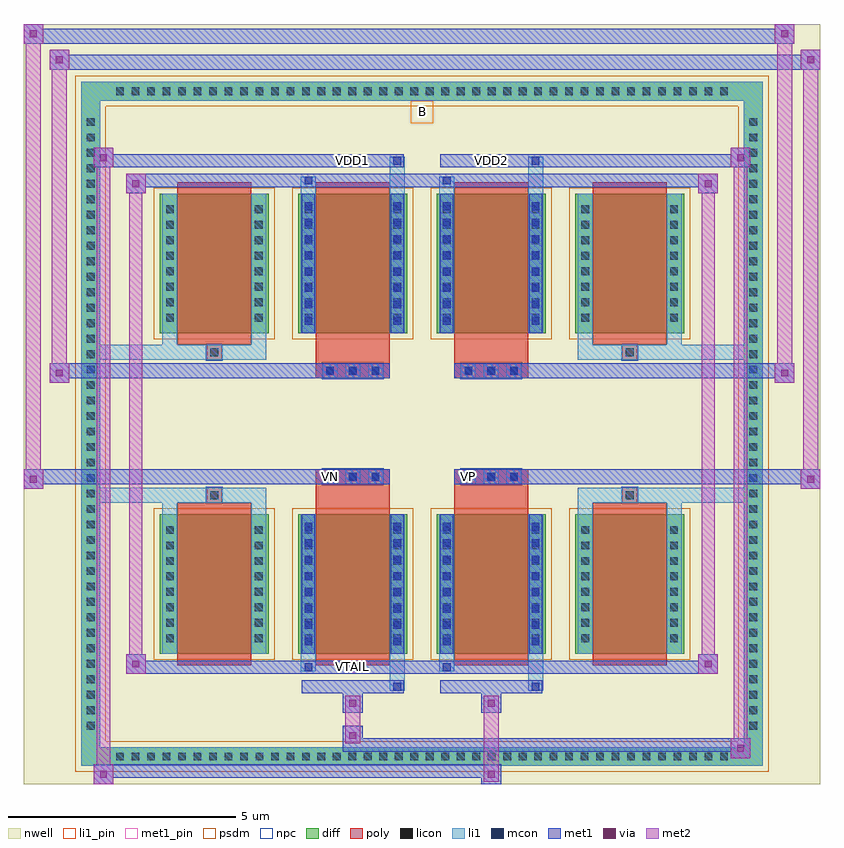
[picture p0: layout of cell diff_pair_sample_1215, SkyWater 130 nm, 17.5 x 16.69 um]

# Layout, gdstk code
import gdstk
lib = gdstk.Library(unit=1e-6, precision=5e-09)
def R(c, l, rs):  # rectangles x0, y0, x1, y1
    for r in rs: c.add(gdstk.rectangle(r[:2], r[2:], *l))
def A(c, l, x, y, w, h, nx, ny, dx, dy):  # array of equal rectangles
    R(c, l, [(x+i*dx, y+j*dy, x+i*dx+w, y+j*dy+h) for i in range(nx) for j in range(ny)])
def P(c, l, *ps):  # polygons
    for p in ps: c.add(gdstk.Polygon(p, *l))
nwell = (64, 20)
diff = (65, 20)
poly = (66, 20)
licon = (66, 44)
li1_pin = (67, 16)
li1 = (67, 20)
mcon = (67, 44)
met1_pin = (68, 16)
met1 = (68, 20)
via = (68, 44)
met2 = (69, 20)
psdm = (94, 20)
npc = (95, 20)

diff_pair_sample_1215 = lib.new_cell('diff_pair_sample_1215')
R(diff_pair_sample_1215, nwell, [(-8.75,-7.91,8.75,8.78), (-6.07,-6.1,-0.01,-0.8), (0.01,-6.1,6.07,-0.8), (-6.07,0.8,-0.01,6.1), (0.01,0.8,6.07,6.1)])
A(diff_pair_sample_1215, diff, -6.835, -7.51, 0.41, 0.41, 40, 2, 0.34, 14.61)
A(diff_pair_sample_1215, diff, -7.48, -6.835, 0.41, 0.41, 1, 40, 0, 0.34)
A(diff_pair_sample_1215, diff, 7.07, -6.835, 0.41, 0.41, 1, 40, 0, 0.34)
A(diff_pair_sample_1215, diff, -5.76, -5.055, 2.4, 3.07, 4, 2, 3.04, 7.04)
R(diff_pair_sample_1215, diff, [(-6.835,-7.51,6.835,-7.1), (-7.48,-6.835,-7.07,6.835), (7.07,-6.835,7.48,6.835), (-6.835,7.1,6.835,7.51)])
P(diff_pair_sample_1215, diff, [(7.48,7.51),(-7.48,7.51),(-7.48,-7.1),(-7.07,-7.1),(-7.07,7.1),(7.07,7.1),(7.07,-7.1),(-7.07,-7.1),(-7.48,-7.1),(-7.48,-7.51),(7.48,-7.51)])
A(diff_pair_sample_1215, poly, -5.37, -5.305, 1.62, 3.57, 4, 2, 3.04, 7.04)
A(diff_pair_sample_1215, poly, -2.185, -1.33, 0.33, 0.33, 3, 2, 0.5, 2.33)
A(diff_pair_sample_1215, poly, 0.855, -1.33, 0.33, 0.33, 3, 2, 0.5, 2.33)
R(diff_pair_sample_1215, poly, [(-4.725,-1.735,-4.395,-1.405), (-4.725,-1.735,-4.395,-1.405), (-2.33,-1.735,-0.71,-1.33), (0.71,-1.735,2.33,-1.33), (4.395,-1.735,4.725,-1.405), (4.395,-1.735,4.725,-1.405), (-2.33,-1.33,-0.71,-1), (0.71,-1.33,2.33,-1), (-2.33,1,-0.71,1.33), (0.71,1,2.33,1.33), (-2.33,1.33,-0.71,1.735), (0.71,1.33,2.33,1.735), (-4.725,1.405,-4.395,1.735), (-4.725,1.405,-4.395,1.735), (4.395,1.405,4.725,1.735), (4.395,1.405,4.725,1.735)])
A(diff_pair_sample_1215, licon, -6.715, -7.39, 0.17, 0.17, 40, 2, 0.34, 14.61)
A(diff_pair_sample_1215, licon, -7.36, -6.715, 0.17, 0.17, 1, 40, 0, 0.34)
A(diff_pair_sample_1215, licon, 7.19, -6.715, 0.17, 0.17, 1, 40, 0, 0.34)
A(diff_pair_sample_1215, licon, -5.62, -4.795, 0.17, 0.17, 1, 8, 0, 0.34)
A(diff_pair_sample_1215, licon, -3.67, -4.795, 0.17, 0.17, 1, 8, 0, 0.34)
A(diff_pair_sample_1215, licon, -2.58, -4.795, 0.17, 0.17, 1, 8, 0, 0.34)
A(diff_pair_sample_1215, licon, -0.63, -4.795, 0.17, 0.17, 1, 8, 0, 0.34)
A(diff_pair_sample_1215, licon, 0.46, -4.795, 0.17, 0.17, 1, 8, 0, 0.34)
A(diff_pair_sample_1215, licon, 2.41, -4.795, 0.17, 0.17, 1, 8, 0, 0.34)
A(diff_pair_sample_1215, licon, 3.5, -4.795, 0.17, 0.17, 1, 8, 0, 0.34)
A(diff_pair_sample_1215, licon, 5.45, -4.795, 0.17, 0.17, 1, 8, 0, 0.34)
A(diff_pair_sample_1215, licon, -2.105, -1.25, 0.17, 0.17, 3, 2, 0.5, 2.33)
A(diff_pair_sample_1215, licon, 0.935, -1.25, 0.17, 0.17, 3, 2, 0.5, 2.33)
A(diff_pair_sample_1215, licon, -5.62, 2.245, 0.17, 0.17, 1, 8, 0, 0.34)
A(diff_pair_sample_1215, licon, -3.67, 2.245, 0.17, 0.17, 1, 8, 0, 0.34)
A(diff_pair_sample_1215, licon, -2.58, 2.245, 0.17, 0.17, 1, 8, 0, 0.34)
A(diff_pair_sample_1215, licon, -0.63, 2.245, 0.17, 0.17, 1, 8, 0, 0.34)
A(diff_pair_sample_1215, licon, 0.46, 2.245, 0.17, 0.17, 1, 8, 0, 0.34)
A(diff_pair_sample_1215, licon, 2.41, 2.245, 0.17, 0.17, 1, 8, 0, 0.34)
A(diff_pair_sample_1215, licon, 3.5, 2.245, 0.17, 0.17, 1, 8, 0, 0.34)
A(diff_pair_sample_1215, licon, 5.45, 2.245, 0.17, 0.17, 1, 8, 0, 0.34)
R(diff_pair_sample_1215, licon, [(-4.645,-1.655,-4.475,-1.485), (4.475,-1.655,4.645,-1.485), (-4.645,1.485,-4.475,1.655), (4.475,1.485,4.645,1.655)])
R(diff_pair_sample_1215, li1_pin, [(-0.25,6.6,0.25,7.1)])
A(diff_pair_sample_1215, li1, -6.795, -7.47, 0.33, 0.33, 40, 2, 0.34, 14.61)
A(diff_pair_sample_1215, li1, -7.44, -6.795, 0.33, 0.33, 1, 40, 0, 0.34)
A(diff_pair_sample_1215, li1, 7.11, -6.795, 0.33, 0.33, 1, 40, 0, 0.34)
A(diff_pair_sample_1215, li1, -5.7, -4.875, 0.33, 0.33, 1, 8, 0, 0.34)
A(diff_pair_sample_1215, li1, -3.75, -4.875, 0.33, 0.33, 1, 8, 0, 0.34)
A(diff_pair_sample_1215, li1, -2.66, -4.875, 0.33, 0.33, 1, 8, 0, 0.34)
A(diff_pair_sample_1215, li1, -0.71, -4.875, 0.33, 0.33, 1, 8, 0, 0.34)
A(diff_pair_sample_1215, li1, 0.38, -4.875, 0.33, 0.33, 1, 8, 0, 0.34)
A(diff_pair_sample_1215, li1, 2.33, -4.875, 0.33, 0.33, 1, 8, 0, 0.34)
A(diff_pair_sample_1215, li1, 3.42, -4.875, 0.33, 0.33, 1, 8, 0, 0.34)
A(diff_pair_sample_1215, li1, 5.37, -4.875, 0.33, 0.33, 1, 8, 0, 0.34)
A(diff_pair_sample_1215, li1, -2.58, -4.865, 0.17, 0.17, 1, 8, 0, 0.36)
A(diff_pair_sample_1215, li1, -0.63, -4.865, 0.17, 0.17, 1, 8, 0, 0.36)
A(diff_pair_sample_1215, li1, 0.46, -4.865, 0.17, 0.17, 1, 8, 0, 0.36)
A(diff_pair_sample_1215, li1, 2.41, -4.865, 0.17, 0.17, 1, 8, 0, 0.36)
A(diff_pair_sample_1215, li1, -2.185, -1.33, 0.33, 0.33, 3, 2, 0.5, 2.33)
A(diff_pair_sample_1215, li1, 0.855, -1.33, 0.33, 0.33, 3, 2, 0.5, 2.33)
A(diff_pair_sample_1215, li1, -5.7, 2.165, 0.33, 0.33, 1, 8, 0, 0.34)
A(diff_pair_sample_1215, li1, -3.75, 2.165, 0.33, 0.33, 1, 8, 0, 0.34)
A(diff_pair_sample_1215, li1, -2.66, 2.165, 0.33, 0.33, 1, 8, 0, 0.34)
A(diff_pair_sample_1215, li1, -0.71, 2.165, 0.33, 0.33, 1, 8, 0, 0.34)
A(diff_pair_sample_1215, li1, 0.38, 2.165, 0.33, 0.33, 1, 8, 0, 0.34)
A(diff_pair_sample_1215, li1, 2.33, 2.165, 0.33, 0.33, 1, 8, 0, 0.34)
A(diff_pair_sample_1215, li1, 3.42, 2.165, 0.33, 0.33, 1, 8, 0, 0.34)
A(diff_pair_sample_1215, li1, 5.37, 2.165, 0.33, 0.33, 1, 8, 0, 0.34)
A(diff_pair_sample_1215, li1, -2.58, 2.175, 0.17, 0.17, 1, 8, 0, 0.36)
A(diff_pair_sample_1215, li1, -0.63, 2.175, 0.17, 0.17, 1, 8, 0, 0.36)
A(diff_pair_sample_1215, li1, 0.46, 2.175, 0.17, 0.17, 1, 8, 0, 0.36)
A(diff_pair_sample_1215, li1, 2.41, 2.175, 0.17, 0.17, 1, 8, 0, 0.36)
R(diff_pair_sample_1215, li1, [(-7.48,-7.51,-7.07,-7.1), (-7.48,-7.51,-7.07,-7.1), (-7.07,-7.51,7.07,-7.1), (7.07,-7.51,7.48,-7.1), (7.07,-7.51,7.48,-7.1), (-7.48,-7.1,-7.07,7.1), (7.07,-7.1,7.48,7.1), (-0.71,-5.86,-0.38,-5.055), (-0.63,-5.86,-0.46,-5.69), (2.33,-5.86,2.66,-5.055), (2.41,-5.86,2.58,-5.69), (-2.66,-5.43,-2.33,-5.055), (-2.58,-5.43,-2.41,-5.26), (0.38,-5.43,0.71,-5.055), (0.46,-5.43,0.63,-5.26), (-5.7,-5.055,-5.37,-1.985), (-3.75,-5.055,-3.42,-1.985), (-2.66,-5.055,-2.33,-1.985), (-0.71,-5.055,-0.38,-1.985), (0.38,-5.055,0.71,-1.985), (2.33,-5.055,2.66,-1.985), (3.42,-5.055,3.75,-1.985), (5.37,-5.055,5.7,-1.985), (-2.58,-4.865,-2.41,-2.175), (-0.63,-4.865,-0.46,-2.175), (0.46,-4.865,0.63,-2.175), (2.41,-4.865,2.58,-2.175), (-5.7,-1.985,-5.37,-1.405), (-3.75,-1.985,-3.42,-1.405), (3.42,-1.985,3.75,-1.405), (5.37,-1.985,5.7,-1.405), (-7.48,-1.735,-4.725,-1.405), (-5.7,-1.735,-4.725,-1.405), (-4.725,-1.735,-4.395,-1.405), (-4.395,-1.735,-3.42,-1.405), (3.42,-1.735,4.395,-1.405), (4.395,-1.735,4.725,-1.405), (4.395,-1.735,7.48,-1.405), (4.725,-1.735,5.7,-1.405), (-7.48,1.405,-4.725,1.735), (-5.7,1.405,-4.725,1.735), (-5.7,1.405,-5.37,1.985), (-4.725,1.405,-4.395,1.735), (-4.395,1.405,-3.42,1.735), (-3.75,1.405,-3.42,1.985), (3.42,1.405,4.395,1.735), (3.42,1.405,3.75,1.985), (4.395,1.405,4.725,1.735), (4.395,1.405,7.48,1.735), (4.725,1.405,5.7,1.735), (5.37,1.405,5.7,1.985), (-5.7,1.985,-5.37,5.055), (-3.75,1.985,-3.42,5.055), (-2.66,1.985,-2.33,5.055), (-0.71,1.985,-0.38,5.055), (0.38,1.985,0.71,5.055), (2.33,1.985,2.66,5.055), (3.42,1.985,3.75,5.055), (5.37,1.985,5.7,5.055), (-2.58,2.175,-2.41,4.865), (-0.63,2.175,-0.46,4.865), (0.46,2.175,0.63,4.865), (2.41,2.175,2.58,4.865), (-2.66,5.055,-2.33,5.43), (-0.71,5.055,-0.38,5.86), (0.38,5.055,0.71,5.43), (2.33,5.055,2.66,5.86), (-2.58,5.26,-2.41,5.43), (0.46,5.26,0.63,5.43), (-0.63,5.69,-0.46,5.86), (2.41,5.69,2.58,5.86), (-7.48,7.1,-7.07,7.51), (-7.48,7.1,-7.07,7.51), (-7.07,7.1,7.07,7.51), (7.07,7.1,7.48,7.51), (7.07,7.1,7.48,7.51)])
A(diff_pair_sample_1215, mcon, -2.58, -4.865, 0.17, 0.17, 1, 8, 0, 0.36)
A(diff_pair_sample_1215, mcon, -0.63, -4.865, 0.17, 0.17, 1, 8, 0, 0.36)
A(diff_pair_sample_1215, mcon, 0.46, -4.865, 0.17, 0.17, 1, 8, 0, 0.36)
A(diff_pair_sample_1215, mcon, 2.41, -4.865, 0.17, 0.17, 1, 8, 0, 0.36)
A(diff_pair_sample_1215, mcon, -2.105, -1.25, 0.17, 0.17, 3, 2, 0.5, 2.33)
A(diff_pair_sample_1215, mcon, 0.935, -1.25, 0.17, 0.17, 3, 2, 0.5, 2.33)
A(diff_pair_sample_1215, mcon, -2.58, 2.175, 0.17, 0.17, 1, 8, 0, 0.36)
A(diff_pair_sample_1215, mcon, -0.63, 2.175, 0.17, 0.17, 1, 8, 0, 0.36)
A(diff_pair_sample_1215, mcon, 0.46, 2.175, 0.17, 0.17, 1, 8, 0, 0.36)
A(diff_pair_sample_1215, mcon, 2.41, 2.175, 0.17, 0.17, 1, 8, 0, 0.36)
R(diff_pair_sample_1215, mcon, [(-0.63,-5.86,-0.46,-5.69), (2.41,-5.86,2.58,-5.69), (-2.58,-5.43,-2.41,-5.26), (0.46,-5.43,0.63,-5.26), (-2.58,5.26,-2.41,5.43), (0.46,5.26,0.63,5.43), (-0.63,5.69,-0.46,5.86), (2.41,5.69,2.58,5.86)])
R(diff_pair_sample_1215, met1_pin, [(-1.655,-5.47,-1.385,-5.2), (-2.155,-1.29,-1.885,-1.02), (0.885,-1.29,1.155,-1.02), (-1.655,5.65,-1.385,5.92), (1.385,5.65,1.655,5.92)])
A(diff_pair_sample_1215, met1, -2.64, -4.925, 0.29, 0.29, 1, 8, 0, 0.36)
A(diff_pair_sample_1215, met1, -0.69, -4.925, 0.29, 0.29, 1, 8, 0, 0.36)
A(diff_pair_sample_1215, met1, 0.4, -4.925, 0.29, 0.29, 1, 8, 0, 0.36)
A(diff_pair_sample_1215, met1, 2.35, -4.925, 0.29, 0.29, 1, 8, 0, 0.36)
A(diff_pair_sample_1215, met1, -2.165, -1.31, 0.29, 0.29, 3, 2, 0.5, 2.33)
A(diff_pair_sample_1215, met1, 0.875, -1.31, 0.29, 0.29, 3, 2, 0.5, 2.33)
A(diff_pair_sample_1215, met1, -2.64, 2.115, 0.29, 0.29, 1, 8, 0, 0.36)
A(diff_pair_sample_1215, met1, -0.69, 2.115, 0.29, 0.29, 1, 8, 0, 0.36)
A(diff_pair_sample_1215, met1, 0.4, 2.115, 0.29, 0.29, 1, 8, 0, 0.36)
A(diff_pair_sample_1215, met1, 2.35, 2.115, 0.29, 0.29, 1, 8, 0, 0.36)
R(diff_pair_sample_1215, met1, [(-7.21,-7.91,-6.78,-7.48), (1.305,-7.91,1.735,-7.48), (-7.21,-7.77,1.735,-7.48), (6.78,-7.34,7.21,-6.91), (-1.735,-7.2,7.21,-6.91), (-1.735,-7.06,-1.305,-6.63), (-1.735,-6.35,-1.305,-5.92), (1.305,-6.35,1.735,-5.92), (-2.64,-5.92,-0.4,-5.63), (-0.69,-5.92,-0.4,-5.63), (0.4,-5.92,2.64,-5.63), (2.35,-5.92,2.64,-5.63), (-6.5,-5.49,-6.07,-5.06), (-6.5,-5.49,-2.64,-5.2), (-2.64,-5.49,-2.35,-5.2), (-2.64,-5.49,-0.4,-5.2), (-0.4,-5.49,0.4,-5.2), (0.4,-5.49,0.69,-5.2), (0.4,-5.49,2.64,-5.2), (2.64,-5.49,6.5,-5.2), (6.07,-5.49,6.5,-5.06), (-2.64,-5.055,-2.35,-1.985), (-0.69,-5.055,-0.4,-1.985), (0.4,-5.055,0.69,-1.985), (2.35,-5.055,2.64,-1.985), (-8.75,-1.43,-8.32,-1), (8.32,-1.43,8.75,-1), (-8.75,-1.33,-0.71,-1), (-2.33,-1.33,-0.71,-1), (0.71,-1.33,2.33,-1), (0.71,-1.33,8.75,-1), (-8.18,0.9,-7.75,1.33), (7.75,0.9,8.18,1.33), (-8.18,1,-2.33,1.33), (-2.33,1,-0.71,1.33), (0.71,1,2.33,1.33), (2.33,1,8.18,1.33), (-2.64,1.985,-2.35,5.055), (-0.69,1.985,-0.4,5.055), (0.4,1.985,0.69,5.055), (2.35,1.985,2.64,5.055), (-6.5,5.06,-6.07,5.49), (6.07,5.06,6.5,5.49), (-6.5,5.2,-2.64,5.49), (-2.64,5.2,-2.35,5.49), (-2.64,5.2,-0.4,5.49), (-0.4,5.2,0.4,5.49), (0.4,5.2,0.69,5.49), (0.4,5.2,2.64,5.49), (2.64,5.2,6.5,5.49), (-7.21,5.63,-6.78,6.06), (-7.21,5.63,-2.64,5.92), (-2.64,5.63,-0.4,5.92), (-0.69,5.63,-0.4,5.92), (0.4,5.63,2.64,5.92), (2.35,5.63,2.64,5.92), (2.64,5.63,7.21,5.92), (6.78,5.63,7.21,6.06), (-8.18,7.78,-7.75,8.21), (-8.18,7.78,-6.07,8.11), (-6.07,7.78,6.07,8.11), (6.07,7.78,8.75,8.11), (8.32,7.78,8.75,8.21), (-8.75,8.35,-8.32,8.78), (-8.75,8.35,-6.07,8.68), (-6.07,8.35,6.07,8.68), (6.07,8.35,8.18,8.68), (7.75,8.35,8.18,8.78)])
R(diff_pair_sample_1215, via, [(-7.07,-7.77,-6.92,-7.62), (1.445,-7.77,1.595,-7.62), (6.92,-7.2,7.07,-7.05), (-1.595,-6.92,-1.445,-6.77), (-1.595,-6.21,-1.445,-6.06), (1.445,-6.21,1.595,-6.06), (-6.36,-5.35,-6.21,-5.2), (6.21,-5.35,6.36,-5.2), (-8.61,-1.29,-8.46,-1.14), (8.46,-1.29,8.61,-1.14), (-8.04,1.04,-7.89,1.19), (7.89,1.04,8.04,1.19), (-6.36,5.2,-6.21,5.35), (6.21,5.2,6.36,5.35), (-7.07,5.77,-6.92,5.92), (6.92,5.77,7.07,5.92), (-8.04,7.92,-7.89,8.07), (8.46,7.92,8.61,8.07), (-8.61,8.49,-8.46,8.64), (7.89,8.49,8.04,8.64)])
R(diff_pair_sample_1215, met2, [(-7.21,-7.91,-6.78,-7.48), (-7.14,-7.91,-6.85,6.06), (-6.85,-7.91,-6.78,-7.48), (-7.16,-7.86,-6.83,-7.53), (1.355,-7.86,1.685,-7.53), (1.355,-7.53,1.685,-6.3), (6.78,-7.34,7.21,-6.91), (6.85,-7.34,7.14,6.06), (7.14,-7.34,7.21,-6.91), (6.83,-7.29,7.16,-6.96), (-1.685,-7.01,-1.355,-6.68), (-1.685,-6.68,-1.355,-6.3), (-1.685,-6.3,-1.355,-5.97), (1.355,-6.3,1.685,-5.97), (-6.5,-5.49,-6.07,-5.06), (-6.43,-5.49,-6.14,5.49), (-6.14,-5.49,-6.07,-5.06), (6.07,-5.49,6.5,-5.06), (6.14,-5.49,6.43,5.49), (6.43,-5.49,6.5,-5.06), (-6.45,-5.44,-6.12,-5.11), (6.12,-5.44,6.45,-5.11), (-8.75,-1.43,-8.32,-1), (-8.7,-1.43,-8.37,8.78), (-8.37,-1.43,-8.32,-1), (8.32,-1.43,8.75,-1), (8.37,-1.43,8.7,8.21), (8.7,-1.43,8.75,-1), (-8.7,-1.38,-8.37,-1.05), (8.37,-1.38,8.7,-1.05), (-8.18,0.9,-7.75,1.33), (-8.13,0.9,-7.8,8.21), (-7.8,0.9,-7.75,1.33), (7.75,0.9,8.18,1.33), (7.8,0.9,8.13,8.78), (8.13,0.9,8.18,1.33), (-8.13,0.95,-7.8,1.28), (7.8,0.95,8.13,1.28), (-6.5,5.06,-6.07,5.49), (-6.14,5.06,-6.07,5.49), (6.07,5.06,6.5,5.49), (6.43,5.06,6.5,5.49), (-6.45,5.11,-6.12,5.44), (6.12,5.11,6.45,5.44), (-7.21,5.63,-6.78,6.06), (-6.85,5.63,-6.78,6.06), (6.78,5.63,7.21,6.06), (7.14,5.63,7.21,6.06), (-7.16,5.68,-6.83,6.01), (6.83,5.68,7.16,6.01), (-8.18,7.78,-7.75,8.21), (-7.8,7.78,-7.75,8.21), (8.32,7.78,8.75,8.21), (8.7,7.78,8.75,8.21), (-8.13,7.83,-7.8,8.16), (8.37,7.83,8.7,8.16), (-8.75,8.35,-8.32,8.78), (-8.37,8.35,-8.32,8.78), (7.75,8.35,8.18,8.78), (8.13,8.35,8.18,8.78), (-8.7,8.4,-8.37,8.73), (7.8,8.4,8.13,8.73)])
A(diff_pair_sample_1215, psdm, -5.89, -5.185, 2.66, 3.33, 4, 2, 3.04, 7.04)
P(diff_pair_sample_1215, psdm, [(7.61,7.64),(-7.61,7.64),(-7.61,-6.97),(-6.94,-6.97),(-6.94,6.97),(6.94,6.97),(6.94,-6.97),(-6.94,-6.97),(-7.61,-6.97),(-7.61,-7.64),(7.61,-7.64)])
A(diff_pair_sample_1215, npc, -2.205, -1.35, 0.37, 0.37, 3, 2, 0.5, 2.33)
A(diff_pair_sample_1215, npc, 0.835, -1.35, 0.37, 0.37, 3, 2, 0.5, 2.33)
R(diff_pair_sample_1215, npc, [(-4.745,-1.755,-4.375,-1.385), (4.375,-1.755,4.745,-1.385), (-2.205,-1.35,-1.335,-0.98), (-2.205,-1.35,-1.335,-0.98), (-1.705,-1.35,-0.835,-0.98), (-1.705,-1.35,-0.835,-0.98), (0.835,-1.35,1.705,-0.98), (0.835,-1.35,1.705,-0.98), (1.335,-1.35,2.205,-0.98), (1.335,-1.35,2.205,-0.98), (-2.205,0.98,-1.335,1.35), (-2.205,0.98,-1.335,1.35), (-1.705,0.98,-0.835,1.35), (-1.705,0.98,-0.835,1.35), (0.835,0.98,1.705,1.35), (0.835,0.98,1.705,1.35), (1.335,0.98,2.205,1.35), (1.335,0.98,2.205,1.35), (-4.745,1.385,-4.375,1.755), (4.375,1.385,4.745,1.755)])
diff_pair_sample_1215.add(gdstk.Label('VTAIL', (-1.52,-5.335), layer=68, texttype=5))
diff_pair_sample_1215.add(gdstk.Label('VN', (-2.02,-1.155), layer=68, texttype=5))
diff_pair_sample_1215.add(gdstk.Label('VP', (1.02,-1.155), layer=68, texttype=5))
diff_pair_sample_1215.add(gdstk.Label('B', (0,6.85), layer=67, texttype=5))
diff_pair_sample_1215.add(gdstk.Label('VDD2', (1.52,5.785), layer=68, texttype=5))
diff_pair_sample_1215.add(gdstk.Label('VDD1', (-1.52,5.785), layer=68, texttype=5))

lib.write_gds('diff_pair_sample_1215.gds')
